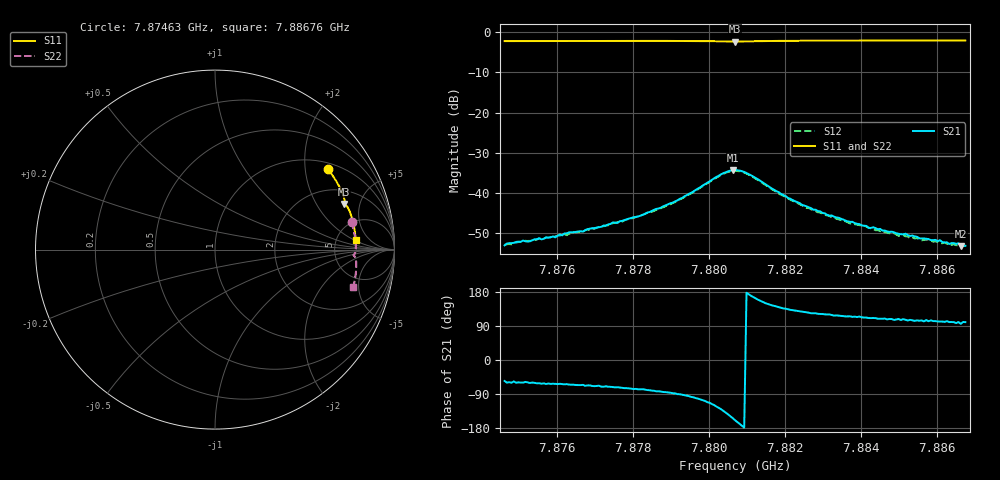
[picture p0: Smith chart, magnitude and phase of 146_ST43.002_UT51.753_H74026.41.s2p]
#  HZ  S  DB  R  50.00
! Rohde & Schwarz Vector Network Analyzer
! Rohde-Schwarz,ZNB20-2Port,1311601062101988,3.16
! Created: UTC 1/12/2023, 6:40:09 PM
! freq[Hz]  db:S11  ang:S11  db:S21  ang:S21  db:S12  ang:S12  db:S22  ang:S22
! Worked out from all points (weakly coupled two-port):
!   201 points, 7.87463 GHz to 7.88676 GHz, reference 50 ohm
!   highest |S21| = -34.34 dB at 7.88063 GHz (marker M1); lowest = -53.2 dB at 7.88664 GHz (marker M2)
!   lowest |S11| = -2.3 dB at 7.88069 GHz (marker M3), VSWR 7.44, Z = 146 + j177 ohm
!   |S11| at or under -10 dB: nowhere
!   |S22| runs from -2.3 to -2.0 dB; largest |S21 - S12| = 0.0012
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7.874629e9  -2.25 35.4  -53.03 -55.4  -52.89 -61.4  -2.20 11.4
7.875114e9  -2.23 34.1  -51.86 -59.6  -52.00 -62.9  -2.18 10.3
7.875964e9  -2.22 31.8  -51.05 -63.0  -50.83 -66.9  -2.16 8.3
7.876328e9  -2.22 30.8  -49.79 -64.8  -50.15 -68.1  -2.15 7.4
7.876691e9  -2.21 29.8  -49.60 -65.6  -49.66 -70.9  -2.14 6.5
7.877601e9  -2.20 27.3  -47.46 -71.8  -47.25 -76.1  -2.11 4.4
7.878693e9  -2.19 24.3  -43.85 -82.5  -44.04 -86.0  -2.11 1.8
7.8793e9  -2.20 22.6  -41.28 -91.5  -41.39 -94.9  -2.11 0.3
7.880331e9  -2.31 19.8  -35.36 -130.1  -35.53 -133.7  -2.21 -2.1
7.880634e9  -2.34 19.4  -34.34 -153.4  -34.55 -156.7  -2.25 -2.3
7.880695e9  -2.35 19.4  -34.36 -158.8  -34.50 -161.8  -2.26 -2.3
7.881058e9  -2.30 19.0  -35.31 173.3  -35.49 169.9  -2.21 -2.5
7.881847e9  -2.18 17.0  -39.82 139.0  -40.18 135.8  -2.08 -4.1
7.882757e9  -2.14 14.4  -44.17 123.4  -44.31 120.5  -2.03 -6.2
7.883727e9  -2.12 11.8  -47.19 115.2  -47.61 111.2  -2.00 -8.5
7.884212e9  -2.12 10.5  -48.72 110.8  -48.62 107.6  -1.99 -9.5
7.884758e9  -2.11 9.1  -49.68 108.2  -50.04 104.2  -1.98 -10.8
7.886093e9  -2.09 5.6  -51.76 101.4  -52.49 99.2  -1.96 -13.7
7.886335e9  -2.09 5.0  -52.70 100.1  -52.56 96.9  -1.96 -14.2
7.886578e9  -2.08 4.3  -52.51 100.3  -53.00 96.3  -1.95 -14.7
7.886639e9  -2.08 4.2  -53.24 95.3  -53.17 95.8  -1.96 -14.9
7.88676e9  -2.09 3.9  -53.14 99.8  -53.16 96.7  -1.96 -15.1
